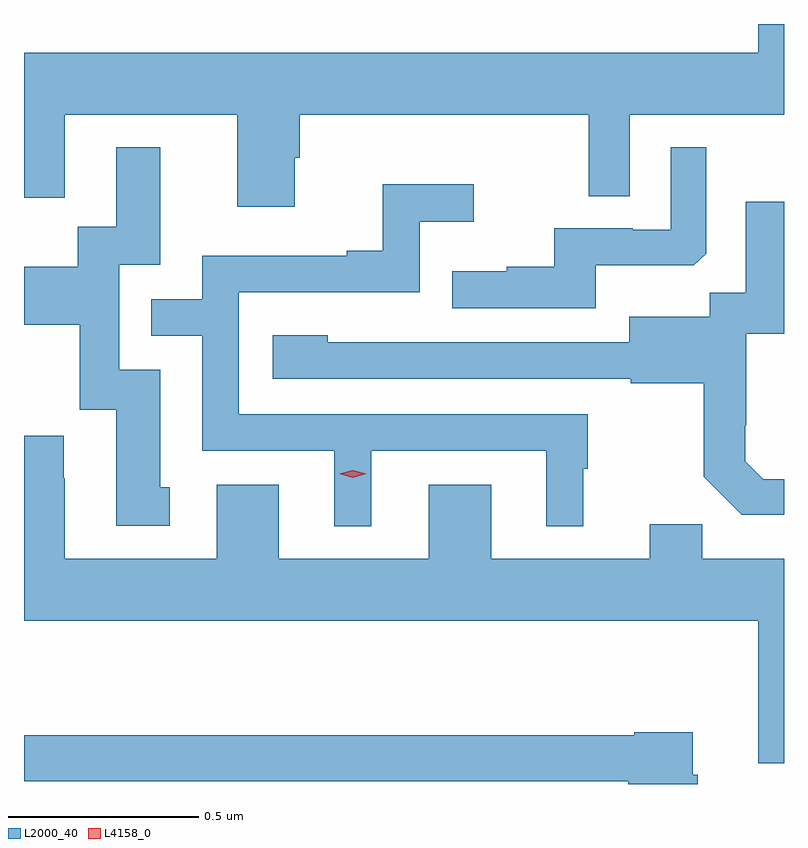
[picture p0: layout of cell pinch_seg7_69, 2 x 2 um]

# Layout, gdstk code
import gdstk
lib = gdstk.Library(unit=1e-6, precision=1e-09)
def P(c, l, *ps):  # polygons
    for p in ps: c.add(gdstk.Polygon(p, *l))
L2000_40 = (2000, 40)
L4158_0 = (4158, 0)

pinch_seg7_69 = lib.new_cell('pinch_seg7_69')
P(pinch_seg7_69, L2000_40, [(966.985,1059.111),(966.998,1059.111),(966.998,1059.224),(967.758,1059.224),(967.758,1059.01),(967.866,1059.01),(967.866,1059.224),(968.272,1059.224),(968.272,1059.463),(968.204,1059.463),(968.204,1059.388),(966.272,1059.388),(966.272,1059.006),(966.379,1059.006),(966.379,1059.224),(966.833,1059.224),(966.833,1058.982),(966.985,1058.982)],
  [(967.777,1058.828),(968.035,1058.828),(968.067,1058.859),(968.067,1059.139),(967.974,1059.139),(967.974,1058.922),(967.874,1058.922),(967.874,1058.925),(967.667,1058.925),(967.667,1058.824),(967.543,1058.824),(967.543,1058.812),(967.399,1058.812),(967.399,1058.715),(967.777,1058.715)],
  [(966.655,1058.244),(966.631,1058.244),(966.631,1058.553),(966.522,1058.553),(966.522,1058.829),(966.631,1058.829),(966.631,1059.139),(966.515,1059.139),(966.515,1058.93),(966.414,1058.93),(966.414,1058.824),(966.272,1058.824),(966.272,1058.672),(966.419,1058.672),(966.419,1058.448),(966.515,1058.448),(966.515,1058.142),(966.655,1058.142)],
  [(967.186,1058.34),(967.646,1058.34),(967.646,1058.141),(967.744,1058.141),(967.744,1058.292),(967.756,1058.292),(967.756,1058.436),(966.837,1058.436),(966.837,1058.757),(967.314,1058.757),(967.314,1058.942),(967.456,1058.942),(967.456,1059.041),(967.216,1059.041),(967.216,1058.866),(967.121,1058.866),(967.121,1058.853),(966.741,1058.853),(966.741,1058.739),(966.607,1058.739),(966.607,1058.643),(966.741,1058.643),(966.741,1058.34),(967.088,1058.34),(967.088,1058.141),(967.186,1058.141)],
  [(968.272,1058.265),(968.217,1058.265),(968.17,1058.312),(968.17,1058.407),(968.172,1058.407),(968.172,1058.648),(968.272,1058.648),(968.272,1058.995),(968.171,1058.995),(968.171,1058.756),(968.076,1058.756),(968.076,1058.692),(967.865,1058.692),(967.865,1058.625),(967.307,1058.625),(967.307,1058.626),(967.071,1058.626),(967.071,1058.644),(966.927,1058.644),(966.927,1058.529),(967.869,1058.529),(967.869,1058.517),(968.061,1058.517),(968.061,1058.271),(968.161,1058.171),(968.272,1058.171)],
  [(968.272,1058.056),(968.057,1058.056),(968.057,1058.147),(967.919,1058.147),(967.919,1058.056),(967.501,1058.056),(967.501,1058.251),(967.337,1058.251),(967.337,1058.056),(966.943,1058.056),(966.943,1058.251),(966.779,1058.251),(966.779,1058.056),(966.379,1058.056),(966.379,1058.267),(966.376,1058.267),(966.376,1058.38),(966.272,1058.38),(966.272,1057.892),(968.204,1057.892),(968.204,1057.518),(968.272,1057.518)],
  [(968.045,1057.487),(968.032,1057.487),(968.032,1057.599),(967.878,1057.599),(967.878,1057.591),(966.272,1057.591),(966.272,1057.47),(967.862,1057.47),(967.862,1057.463),(968.045,1057.463)])
P(pinch_seg7_69, L4158_0, [(967.137,1058.269),(967.101,1058.279),(967.101,1058.279),(967.101,1058.279),(967.137,1058.289),(967.172,1058.279),(967.173,1058.279),(967.172,1058.279)])

lib.write_gds('pinch_seg7_69.gds')
